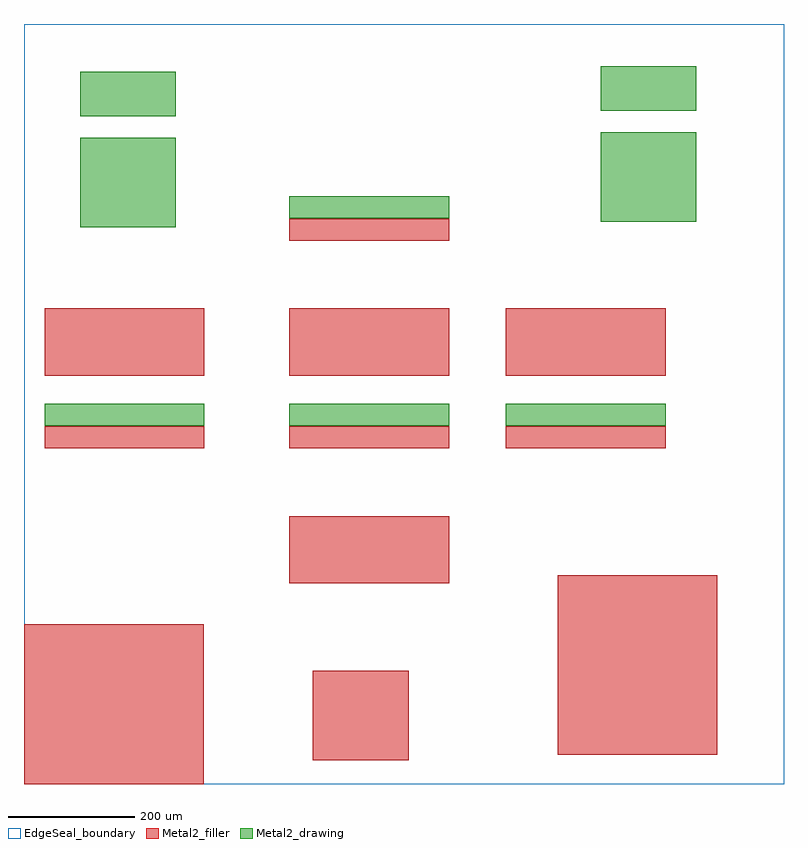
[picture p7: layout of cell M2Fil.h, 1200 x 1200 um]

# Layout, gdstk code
import gdstk
lib = gdstk.Library(unit=1e-6, precision=1e-09)
def R(c, l, rs):  # rectangles x0, y0, x1, y1
    for r in rs: c.add(gdstk.rectangle(r[:2], r[2:], *l))
def A(c, l, x, y, w, h, nx, ny, dx, dy):  # array of equal rectangles
    R(c, l, [(x+i*dx, y+j*dy, x+i*dx+w, y+j*dy+h) for i in range(nx) for j in range(ny)])
Metal2_drawing = (10, 0)
Metal2_filler = (10, 22)
EdgeSeal_boundary = (39, 4)

m2fil_h = lib.new_cell('M2Fil.h')
A(m2fil_h, Metal2_drawing, 32.975, 565.64, 50, 35, 5, 1, 50.5, 0)
A(m2fil_h, Metal2_drawing, 419.065, 565.64, 50, 35, 5, 2, 50.5, 327.725)
A(m2fil_h, Metal2_drawing, 760.905, 565.64, 50, 35, 5, 1, 50.5, 0)
A(m2fil_h, Metal2_drawing, 88.995, 879.115, 50, 35, 3, 4, 50.5, 35.5)
A(m2fil_h, Metal2_drawing, 910.625, 887.55, 50, 35, 3, 4, 50.5, 35.5)
A(m2fil_h, Metal2_drawing, 88.995, 1054.34, 50, 35, 3, 2, 50.5, 35.5)
A(m2fil_h, Metal2_drawing, 910.625, 1062.775, 50, 35, 3, 2, 50.5, 35.5)
A(m2fil_h, Metal2_filler, 0, 0, 35, 50, 8, 5, 35.5, 50.5)
A(m2fil_h, Metal2_filler, 456.17, 37.335, 50, 35, 3, 4, 50.5, 35.5)
A(m2fil_h, Metal2_filler, 842.445, 46.18, 50, 35, 5, 8, 50.5, 35.5)
A(m2fil_h, Metal2_filler, 419.065, 317.14, 50, 35, 5, 3, 50.5, 35.5)
A(m2fil_h, Metal2_filler, 32.975, 530.14, 50, 35, 5, 2, 50.5, 114.725)
A(m2fil_h, Metal2_filler, 419.065, 530.14, 50, 35, 5, 2, 50.5, 114.725)
A(m2fil_h, Metal2_filler, 760.905, 530.14, 50, 35, 5, 2, 50.5, 114.725)
A(m2fil_h, Metal2_filler, 32.975, 680.365, 50, 35, 5, 2, 50.5, 35.5)
A(m2fil_h, Metal2_filler, 419.065, 680.365, 50, 35, 5, 2, 50.5, 35.5)
A(m2fil_h, Metal2_filler, 760.905, 680.365, 50, 35, 5, 2, 50.5, 35.5)
A(m2fil_h, Metal2_filler, 419.065, 857.865, 50, 35, 5, 1, 50.5, 0)
R(m2fil_h, EdgeSeal_boundary, [(0,0,1200,1200)])

lib.write_gds('M2Fil.h.gds')
